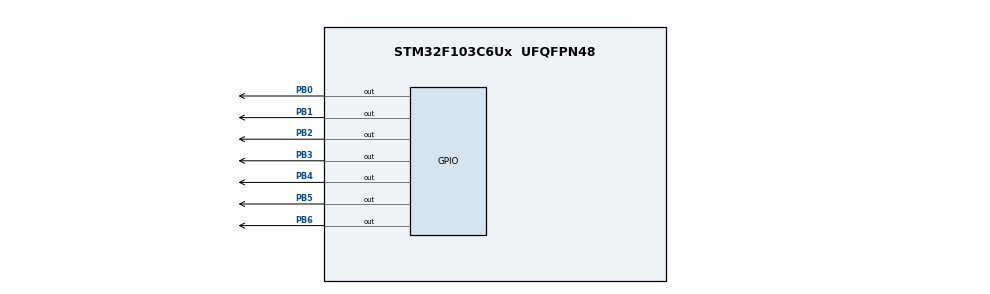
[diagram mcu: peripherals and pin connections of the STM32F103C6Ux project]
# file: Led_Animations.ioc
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Mcu.Family=STM32F1
Mcu.Name=STM32F103C6Ux
Mcu.Package=UFQFPN48
NVIC.PriorityGroup=NVIC_PRIORITYGROUP_4
PB0.Signal=GPIO_Output
PB1.Signal=GPIO_Output
PB2.Signal=GPIO_Output
PB3.Signal=GPIO_Output
PB4.Signal=GPIO_Output
PB5.Signal=GPIO_Output
PB6.Signal=GPIO_Output
ProjectManager.HeapSize=0x200
ProjectManager.StackSize=0x400
ProjectManager.TargetToolchain=STM32CubeIDE
RCC.APB1Freq_Value=8000000
RCC.APB2Freq_Value=8000000
VP_SYS_VS_ND.Mode=No_Debug
board=custom

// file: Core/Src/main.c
/* USER CODE BEGIN Header */
/**
  ******************************************************************************
  * @file           : main.c
  * @brief          : Main program body
  ******************************************************************************
  * @attention
  *
  * <h2><center>&copy; Copyright (c) 2026 STMicroelectronics.
  * All rights reserved.</center></h2>
  *
  * This software component is licensed by ST under BSD 3-Clause license,
  * the "License"; You may not use this file except in compliance with the
  * License. You may obtain a copy of the License at:
  *                        opensource.org/licenses/BSD-3-Clause
  *
  ******************************************************************************
  */
/* USER CODE END Header */
#include "main.h"

void SystemClock_Config(void);
static void MX_GPIO_Init(void);

int main(void)
{

  /* MCU Configuration--------------------------------------------------------*/

  /* Reset of all peripherals, Initializes the Flash interface and the Systick. */
  HAL_Init();

  /* Configure the system clock */
  SystemClock_Config();

  /* Initialize all configured peripherals */
  MX_GPIO_Init();
  /* USER CODE BEGIN 2 */
  void display7SEG(int num) {
      uint8_t seg_code[10] = {
          0b1000000,
          0b1111001,
          0b0100100,
          0b0110000,
          0b0011001,
		  0b0010010,
          0b0000010,
          0b1111000,
          0b0000000,
          0b0010000
      };

      if (num >= 0 && num <= 9) {
          uint8_t value = seg_code[num];
          HAL_GPIO_WritePin(GPIOB, GPIO_PIN_0, (value & 0x01) ? GPIO_PIN_SET : GPIO_PIN_RESET);
          HAL_GPIO_WritePin(GPIOB, GPIO_PIN_1, (value & 0x02) ? GPIO_PIN_SET : GPIO_PIN_RESET);
          HAL_GPIO_WritePin(GPIOB, GPIO_PIN_2, (value & 0x04) ? GPIO_PIN_SET : GPIO_PIN_RESET);
          HAL_GPIO_WritePin(GPIOB, GPIO_PIN_3, (value & 0x08) ? GPIO_PIN_SET : GPIO_PIN_RESET);
          HAL_GPIO_WritePin(GPIOB, GPIO_PIN_4, (value & 0x10) ? GPIO_PIN_SET : GPIO_PIN_RESET);
          HAL_GPIO_WritePin(GPIOB, GPIO_PIN_5, (value & 0x20) ? GPIO_PIN_SET : GPIO_PIN_RESET);
          HAL_GPIO_WritePin(GPIOB, GPIO_PIN_6, (value & 0x40) ? GPIO_PIN_SET : GPIO_PIN_RESET);
      }
  }
  /* USER CODE END 2 */

  /* Infinite loop */
  /* USER CODE BEGIN WHILE */
  int counter = 0;
  while (1)
  {
    /* USER CODE END WHILE */

    /* USER CODE BEGIN 3 */
	  if (counter >= 10) counter = 0;
	      display7SEG(counter++);
	      HAL_Delay(1000);
  }
  /* USER CODE END 3 */
}

void SystemClock_Config(void)
{
  RCC_OscInitTypeDef RCC_OscInitStruct = {0};
  RCC_ClkInitTypeDef RCC_ClkInitStruct = {0};

  /** Initializes the RCC Oscillators according to the specified parameters
  * in the RCC_OscInitTypeDef structure.
  */
  RCC_OscInitStruct.OscillatorType = RCC_OSCILLATORTYPE_HSI;
  RCC_OscInitStruct.HSIState = RCC_HSI_ON;
  RCC_OscInitStruct.HSICalibrationValue = RCC_HSICALIBRATION_DEFAULT;
  RCC_OscInitStruct.PLL.PLLState = RCC_PLL_NONE;
  if (HAL_RCC_OscConfig(&RCC_OscInitStruct) != HAL_OK)
  {
    Error_Handler();
  }
  /** Initializes the CPU, AHB and APB buses clocks
  */
  RCC_ClkInitStruct.ClockType = RCC_CLOCKTYPE_HCLK|RCC_CLOCKTYPE_SYSCLK
                              |RCC_CLOCKTYPE_PCLK1|RCC_CLOCKTYPE_PCLK2;
  RCC_ClkInitStruct.SYSCLKSource = RCC_SYSCLKSOURCE_HSI;
  RCC_ClkInitStruct.AHBCLKDivider = RCC_SYSCLK_DIV1;
  RCC_ClkInitStruct.APB1CLKDivider = RCC_HCLK_DIV1;
  RCC_ClkInitStruct.APB2CLKDivider = RCC_HCLK_DIV1;

  if (HAL_RCC_ClockConfig(&RCC_ClkInitStruct, FLASH_LATENCY_0) != HAL_OK)
  {
    Error_Handler();
  }
}

static void MX_GPIO_Init(void)
{
  GPIO_InitTypeDef GPIO_InitStruct = {0};

  /* GPIO Ports Clock Enable */
  __HAL_RCC_GPIOB_CLK_ENABLE();

  /*Configure GPIO pin Output Level */
  HAL_GPIO_WritePin(GPIOB, GPIO_PIN_0|GPIO_PIN_1|GPIO_PIN_2|GPIO_PIN_3
                          |GPIO_PIN_4|GPIO_PIN_5|GPIO_PIN_6, GPIO_PIN_RESET);

  /*Configure GPIO pins : PB0 PB1 PB2 PB3
                           PB4 PB5 PB6 */
  GPIO_InitStruct.Pin = GPIO_PIN_0|GPIO_PIN_1|GPIO_PIN_2|GPIO_PIN_3
                          |GPIO_PIN_4|GPIO_PIN_5|GPIO_PIN_6;
  GPIO_InitStruct.Mode = GPIO_MODE_OUTPUT_PP;
  GPIO_InitStruct.Pull = GPIO_NOPULL;
  GPIO_InitStruct.Speed = GPIO_SPEED_FREQ_LOW;
  HAL_GPIO_Init(GPIOB, &GPIO_InitStruct);

}

void Error_Handler(void)
{
  __disable_irq();
  while (1)
  {
  }
}

/************************ (C) COPYRIGHT STMicroelectronics *****END OF FILE****/
